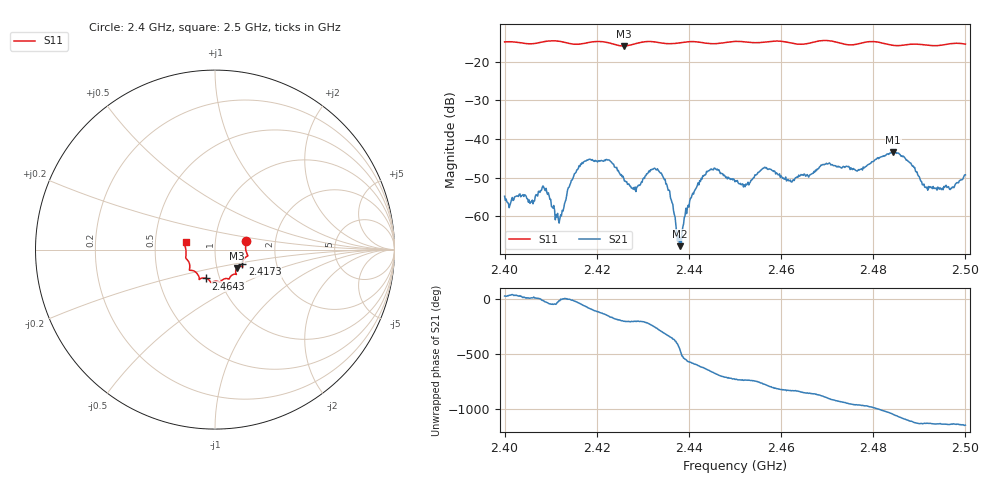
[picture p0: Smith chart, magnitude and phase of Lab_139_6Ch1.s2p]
# Hz S RI R 50
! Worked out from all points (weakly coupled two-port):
!   601 points, 2.4 GHz to 2.5 GHz, reference 50 ohm
!   highest |S21| = -43.35 dB at 2.4843 GHz (marker M1); lowest = -67.7 dB at 2.438 GHz (marker M2)
!   lowest |S11| = -15.9 dB at 2.4258 GHz (marker M3), VSWR 1.38, Z = 62.3 - j13.2 ohm
!   |S11| at or under -10 dB: start of sweep to end of sweep
!   S12 and S22 are empty: the file has one direction only
!   S11 on the Smith chart (normalised r, x): 2.4 GHz: 1.41, +0.14; 2.4173 GHz: 1.34, -0.23; 2.4643 GHz: 0.86, -0.29; 2.5 GHz: 0.72, +0.06
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2.4e9  0.1736 0.0496  0.00163 0.000795  0 0  0 0
2.406e9  0.171 0.00133  0.0016 0.000238  0 0  0 0
2.4085e9  0.1799 -0.0251  0.00226 -0.000745  0 0  0 0
2.411833e9  0.1805 -0.0363  0.000789 -0.000212  0 0  0 0
2.416667e9  0.1531 -0.0743  0.00302 -0.00359  0 0  0 0
2.417333e9  0.1524 -0.0817  0.00229 -0.00461  0 0  0 0
2.4225e9  0.1492 -0.0941  -0.00483 -0.0023  0 0  0 0
2.425833e9  0.1218 -0.1036  -0.00287 0.00126  0 0  0 0
2.428167e9  0.1149 -0.1249  -0.00202 0.000904  0 0  0 0
2.433333e9  0.113 -0.1369  0.000454 0.00392  0 0  0 0
2.435333e9  0.0995 -0.1397  0.00212 0.00113  0 0  0 0
2.438e9  0.083 -0.1544  -2.87e-05 -0.00041  0 0  0 0
2.440333e9  0.0789 -0.164  -0.00138 0.00102  0 0  0 0
2.4435e9  0.0669 -0.1611  0.0002 0.0034  0 0  0 0
2.45e9  0.0292 -0.1809  0.00273 -0.000601  0 0  0 0
2.456333e9  -0.00882 -0.1789  0.0024 -0.00353  0 0  0 0
2.464333e9  -0.0498 -0.1609  -0.00212 -0.00275  0 0  0 0
2.466667e9  -0.0759 -0.1597  -0.00278 -0.00223  0 0  0 0
2.483333e9  -0.1405 -0.09  0.00429 0.00465  0 0  0 0
2.484333e9  -0.1422 -0.0793  0.00588 0.00342  0 0  0 0
2.491667e9  -0.1613 -0.0286  0.00146 -0.00188  0 0  0 0
2.5e9  -0.1636 0.0421  0.00127 -0.0032  0 0  0 0
